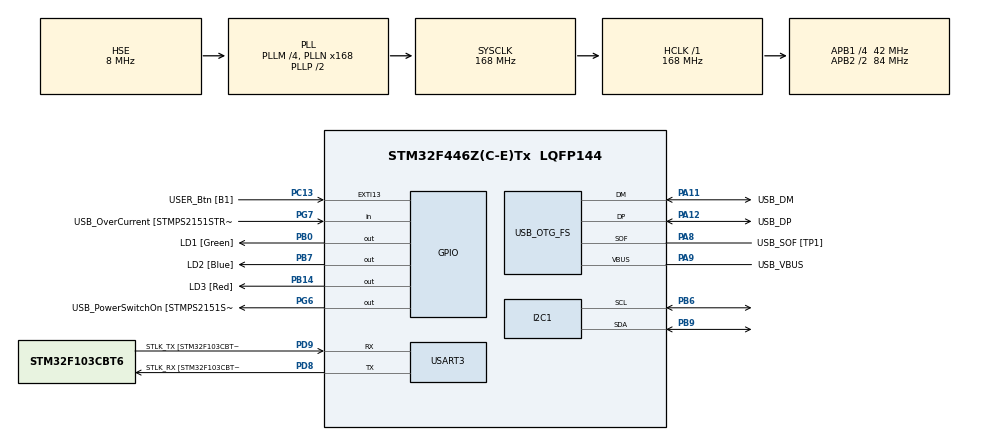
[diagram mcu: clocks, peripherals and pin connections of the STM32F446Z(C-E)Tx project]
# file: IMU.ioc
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Dma.I2C1_RX.0.Direction=DMA_PERIPH_TO_MEMORY
Dma.I2C1_RX.0.FIFOMode=DMA_FIFOMODE_DISABLE
Dma.I2C1_RX.0.Instance=DMA1_Stream0
Dma.I2C1_RX.0.MemDataAlignment=DMA_MDATAALIGN_BYTE
Dma.I2C1_RX.0.MemInc=DMA_MINC_ENABLE
Dma.I2C1_RX.0.Mode=DMA_CIRCULAR
Dma.I2C1_RX.0.PeriphDataAlignment=DMA_PDATAALIGN_BYTE
Dma.I2C1_RX.0.PeriphInc=DMA_PINC_DISABLE
Dma.I2C1_RX.0.Priority=DMA_PRIORITY_HIGH
Dma.Request0=I2C1_RX
Mcu.Family=STM32F4
Mcu.Name=STM32F446Z(C-E)Tx
Mcu.Package=LQFP144
NVIC.DMA1_Stream0_IRQn=true\:0\:0\:false\:false\:true\:false\:true\:true
NVIC.I2C1_ER_IRQn=true\:0\:0\:false\:false\:true\:true\:true\:true
NVIC.I2C1_EV_IRQn=true\:0\:0\:false\:false\:true\:true\:true\:true
NVIC.PriorityGroup=NVIC_PRIORITYGROUP_4
NVIC.TIM6_DAC_IRQn=true\:0\:0\:false\:false\:true\:true\:true\:true
PA10.GPIO_Label=USB_ID
PA10.Signal=USB_OTG_FS_ID
PA11.GPIO_Label=USB_DM
PA11.Mode=Device_Only
PA11.Signal=USB_OTG_FS_DM
PA12.GPIO_Label=USB_DP
PA12.Mode=Device_Only
PA12.Signal=USB_OTG_FS_DP
PA13.GPIO_Label=TMS
PA13.Mode=Serial_Wire
PA13.Signal=SYS_JTMS-SWDIO
PA14.GPIO_Label=TCK
PA14.Mode=Serial_Wire
PA14.Signal=SYS_JTCK-SWCLK
PA8.GPIO_Label=USB_SOF [TP1]
PA8.Mode=Activate_SOF_FS
PA8.Signal=USB_OTG_FS_SOF
PA9.GPIO_Label=USB_VBUS
PA9.Mode=Activate_VBUS
PA9.Signal=USB_OTG_FS_VBUS
PB0.GPIO_Label=LD1 [Green]
PB0.Signal=GPIO_Output
PB14.GPIO_Label=LD3 [Red]
PB14.Signal=GPIO_Output
PB6.Mode=I2C
PB6.Signal=I2C1_SCL
PB7.GPIO_Label=LD2 [Blue]
PB7.Signal=GPIO_Output
PB9.Mode=I2C
PB9.Signal=I2C1_SDA
PC13.GPIO_Label=USER_Btn [B1]
PC13.Signal=GPXTI13
PC14-OSC32_IN.Mode=LSE-External-Oscillator
PC14-OSC32_IN.Signal=RCC_OSC32_IN
PC15-OSC32_OUT.Mode=LSE-External-Oscillator
PC15-OSC32_OUT.Signal=RCC_OSC32_OUT
PD8.GPIO_Label=STLK_RX [STM32F103CBT6_PA3]
PD8.Mode=Asynchronous
PD8.Signal=USART3_TX
PD9.GPIO_Label=STLK_TX [STM32F103CBT6_PA2]
PD9.Mode=Asynchronous
PD9.Signal=USART3_RX
PG6.GPIO_Label=USB_PowerSwitchOn [STMPS2151STR_EN]
PG6.Signal=GPIO_Output
PG7.GPIO_Label=USB_OverCurrent [STMPS2151STR_FAULT]
PG7.Signal=GPIO_Input
PH0-OSC_IN.GPIO_Label=MCO [STM32F103CBT6_PA8]
PH0-OSC_IN.Mode=HSE-External-Clock-Source
PH0-OSC_IN.Signal=RCC_OSC_IN
PH1-OSC_OUT.Mode=HSE-External-Clock-Source
PH1-OSC_OUT.Signal=RCC_OSC_OUT
ProjectManager.HeapSize=0x200
ProjectManager.StackSize=0x400
ProjectManager.TargetToolchain=STM32CubeIDE
RCC.48MHZClocksFreq_Value=24000000
RCC.AHBFreq_Value=168000000
RCC.APB1CLKDivider=RCC_HCLK_DIV4
RCC.APB1Freq_Value=42000000
RCC.APB1TimFreq_Value=84000000
RCC.APB2CLKDivider=RCC_HCLK_DIV2
RCC.APB2Freq_Value=84000000
RCC.APB2TimFreq_Value=168000000
RCC.CortexFreq_Value=168000000
RCC.HCLKFreq_Value=168000000
RCC.HSE_VALUE=8000000
RCC.HSI_VALUE=16000000
RCC.PLLM=4
RCC.PLLMUL=RCC_PLL_MUL9
RCC.PLLN=168
RCC.PLLQ=7
RCC.PRESCALERUSB=RCC_USBCLKSOURCE_PLL_DIV1_5
RCC.SYSCLKFreq_VALUE=168000000
RCC.SYSCLKSource=RCC_SYSCLKSOURCE_PLLCLK
RCC.SYSCLKSourceVirtual=RCC_SYSCLKSOURCE_PLLCLK
RCC.USBFreq_Value=48000000
RCC.VCOOutputFreq_Value=336000000
TIM6.AutoReloadPreload=TIM_AUTORELOAD_PRELOAD_ENABLE
TIM6.Period=99
TIM6.Prescaler=8399
USART3.VirtualMode=VM_ASYNC
USB_OTG_FS.VirtualMode=Device_Only
VP_TIM6_VS_ClockSourceINT.Mode=Enable_Timer
board=NUCLEO-F446ZE

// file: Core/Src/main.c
/* USER CODE BEGIN Header */
/**
  ******************************************************************************
  * @file           : main.c
  * @brief          : Main program body
  ******************************************************************************
  * @attention
  *
  * Copyright (c) 2025 STMicroelectronics.
  * All rights reserved.
  *
  * This software is licensed under terms that can be found in the LICENSE file
  * in the root directory of this software component.
  * If no LICENSE file comes with this software, it is provided AS-IS.
  *
  ******************************************************************************
  */
/* USER CODE END Header */
#include "main.h"

/* USER CODE BEGIN Includes */
#include <stdio.h>
#include "mpu9250.h"
/* USER CODE END Includes */

I2C_HandleTypeDef hi2c1;
DMA_HandleTypeDef hdma_i2c1_rx;

TIM_HandleTypeDef htim6;

UART_HandleTypeDef huart3;

PCD_HandleTypeDef hpcd_USB_OTG_FS;

void SystemClock_Config(void);
static void MX_GPIO_Init(void);
static void MX_DMA_Init(void);
static void MX_USART3_UART_Init(void);
static void MX_USB_OTG_FS_PCD_Init(void);
static void MX_I2C1_Init(void);
static void MX_TIM6_Init(void);

int main(void)
{

  /* MCU Configuration--------------------------------------------------------*/

  /* Reset of all peripherals, Initializes the Flash interface and the Systick. */
  HAL_Init();

  /* Configure the system clock */
  SystemClock_Config();

  /* Initialize all configured peripherals */
  MX_GPIO_Init();
  MX_DMA_Init();
  MX_USART3_UART_Init();
  MX_USB_OTG_FS_PCD_Init();
  MX_I2C1_Init();
  MX_TIM6_Init();
  /* USER CODE BEGIN 2 */
  mpu9250_init();
  HAL_Delay(500);
  HAL_TIM_Base_Start_IT(&htim6);
  /* USER CODE END 2 */

  /* Infinite loop */
  while (1)
  {
      HAL_Delay(1000);

          // Accelerometer
          printf("Accel -> X: %.2f g, Y: %.2f g, Z: %.2f g\r\n", imu.ax, imu.ay, imu.az);
          // Gyroscope
          printf("Gyro  -> X: %.2f °/s, Y: %.2f °/s, Z: %.2f °/s\r\n", imu.gx, imu.gy, imu.gz);
          // Euler angles
          printf("Orientation -> Pitch: %.2f°, Roll: %.2f°\r\n", imu.pitch, imu.roll);
      }

  }

void SystemClock_Config(void)
{
  RCC_OscInitTypeDef RCC_OscInitStruct = {0};
  RCC_ClkInitTypeDef RCC_ClkInitStruct = {0};

  /** Configure the main internal regulator output voltage
  */
  __HAL_RCC_PWR_CLK_ENABLE();
  __HAL_PWR_VOLTAGESCALING_CONFIG(PWR_REGULATOR_VOLTAGE_SCALE1);

  /** Initializes the RCC Oscillators according to the specified parameters
  * in the RCC_OscInitTypeDef structure.
  */
  RCC_OscInitStruct.OscillatorType = RCC_OSCILLATORTYPE_HSE;
  RCC_OscInitStruct.HSEState = RCC_HSE_BYPASS;
  RCC_OscInitStruct.PLL.PLLState = RCC_PLL_ON;
  RCC_OscInitStruct.PLL.PLLSource = RCC_PLLSOURCE_HSE;
  RCC_OscInitStruct.PLL.PLLM = 4;
  RCC_OscInitStruct.PLL.PLLN = 168;
  RCC_OscInitStruct.PLL.PLLP = RCC_PLLP_DIV2;
  RCC_OscInitStruct.PLL.PLLQ = 7;
  RCC_OscInitStruct.PLL.PLLR = 2;
  if (HAL_RCC_OscConfig(&RCC_OscInitStruct) != HAL_OK)
  {
    Error_Handler();
  }

  /** Initializes the CPU, AHB and APB buses clocks
  */
  RCC_ClkInitStruct.ClockType = RCC_CLOCKTYPE_HCLK|RCC_CLOCKTYPE_SYSCLK
                              |RCC_CLOCKTYPE_PCLK1|RCC_CLOCKTYPE_PCLK2;
  RCC_ClkInitStruct.SYSCLKSource = RCC_SYSCLKSOURCE_PLLCLK;
  RCC_ClkInitStruct.AHBCLKDivider = RCC_SYSCLK_DIV1;
  RCC_ClkInitStruct.APB1CLKDivider = RCC_HCLK_DIV4;
  RCC_ClkInitStruct.APB2CLKDivider = RCC_HCLK_DIV2;

  if (HAL_RCC_ClockConfig(&RCC_ClkInitStruct, FLASH_LATENCY_5) != HAL_OK)
  {
    Error_Handler();
  }
}

static void MX_I2C1_Init(void)
{

  hi2c1.Instance = I2C1;
  hi2c1.Init.ClockSpeed = 100000;
  hi2c1.Init.DutyCycle = I2C_DUTYCYCLE_2;
  hi2c1.Init.OwnAddress1 = 0;
  hi2c1.Init.AddressingMode = I2C_ADDRESSINGMODE_7BIT;
  hi2c1.Init.DualAddressMode = I2C_DUALADDRESS_DISABLE;
  hi2c1.Init.OwnAddress2 = 0;
  hi2c1.Init.GeneralCallMode = I2C_GENERALCALL_DISABLE;
  hi2c1.Init.NoStretchMode = I2C_NOSTRETCH_DISABLE;
  if (HAL_I2C_Init(&hi2c1) != HAL_OK)
  {
    Error_Handler();
  }

}

static void MX_TIM6_Init(void)
{

  TIM_MasterConfigTypeDef sMasterConfig = {0};

  htim6.Instance = TIM6;
  htim6.Init.Prescaler = 8399;
  htim6.Init.CounterMode = TIM_COUNTERMODE_UP;
  htim6.Init.Period = 99;
  htim6.Init.AutoReloadPreload = TIM_AUTORELOAD_PRELOAD_ENABLE;
  if (HAL_TIM_Base_Init(&htim6) != HAL_OK)
  {
    Error_Handler();
  }
  sMasterConfig.MasterOutputTrigger = TIM_TRGO_RESET;
  sMasterConfig.MasterSlaveMode = TIM_MASTERSLAVEMODE_DISABLE;
  if (HAL_TIMEx_MasterConfigSynchronization(&htim6, &sMasterConfig) != HAL_OK)
  {
    Error_Handler();
  }

}

static void MX_USART3_UART_Init(void)
{

  huart3.Instance = USART3;
  huart3.Init.BaudRate = 115200;
  huart3.Init.WordLength = UART_WORDLENGTH_8B;
  huart3.Init.StopBits = UART_STOPBITS_1;
  huart3.Init.Parity = UART_PARITY_NONE;
  huart3.Init.Mode = UART_MODE_TX_RX;
  huart3.Init.HwFlowCtl = UART_HWCONTROL_NONE;
  huart3.Init.OverSampling = UART_OVERSAMPLING_16;
  if (HAL_UART_Init(&huart3) != HAL_OK)
  {
    Error_Handler();
  }

}

static void MX_USB_OTG_FS_PCD_Init(void)
{

  hpcd_USB_OTG_FS.Instance = USB_OTG_FS;
  hpcd_USB_OTG_FS.Init.dev_endpoints = 6;
  hpcd_USB_OTG_FS.Init.speed = PCD_SPEED_FULL;
  hpcd_USB_OTG_FS.Init.dma_enable = DISABLE;
  hpcd_USB_OTG_FS.Init.phy_itface = PCD_PHY_EMBEDDED;
  hpcd_USB_OTG_FS.Init.Sof_enable = ENABLE;
  hpcd_USB_OTG_FS.Init.low_power_enable = DISABLE;
  hpcd_USB_OTG_FS.Init.lpm_enable = DISABLE;
  hpcd_USB_OTG_FS.Init.vbus_sensing_enable = ENABLE;
  hpcd_USB_OTG_FS.Init.use_dedicated_ep1 = DISABLE;
  if (HAL_PCD_Init(&hpcd_USB_OTG_FS) != HAL_OK)
  {
    Error_Handler();
  }

}

static void MX_DMA_Init(void)
{

  /* DMA controller clock enable */
  __HAL_RCC_DMA1_CLK_ENABLE();

  /* DMA interrupt init */
  /* DMA1_Stream0_IRQn interrupt configuration */
  HAL_NVIC_SetPriority(DMA1_Stream0_IRQn, 0, 0);
  HAL_NVIC_EnableIRQ(DMA1_Stream0_IRQn);

}

static void MX_GPIO_Init(void)
{
  GPIO_InitTypeDef GPIO_InitStruct = {0};

  /* GPIO Ports Clock Enable */
  __HAL_RCC_GPIOC_CLK_ENABLE();
  __HAL_RCC_GPIOH_CLK_ENABLE();
  __HAL_RCC_GPIOB_CLK_ENABLE();
  __HAL_RCC_GPIOD_CLK_ENABLE();
  __HAL_RCC_GPIOG_CLK_ENABLE();
  __HAL_RCC_GPIOA_CLK_ENABLE();

  /*Configure GPIO pin Output Level */
  HAL_GPIO_WritePin(GPIOB, LD1_Pin|LD3_Pin|LD2_Pin, GPIO_PIN_RESET);

  /*Configure GPIO pin Output Level */
  HAL_GPIO_WritePin(USB_PowerSwitchOn_GPIO_Port, USB_PowerSwitchOn_Pin, GPIO_PIN_RESET);

  /*Configure GPIO pin : USER_Btn_Pin */
  GPIO_InitStruct.Pin = USER_Btn_Pin;
  GPIO_InitStruct.Mode = GPIO_MODE_IT_RISING;
  GPIO_InitStruct.Pull = GPIO_NOPULL;
  HAL_GPIO_Init(USER_Btn_GPIO_Port, &GPIO_InitStruct);

  /*Configure GPIO pins : LD1_Pin LD3_Pin LD2_Pin */
  GPIO_InitStruct.Pin = LD1_Pin|LD3_Pin|LD2_Pin;
  GPIO_InitStruct.Mode = GPIO_MODE_OUTPUT_PP;
  GPIO_InitStruct.Pull = GPIO_NOPULL;
  GPIO_InitStruct.Speed = GPIO_SPEED_FREQ_LOW;
  HAL_GPIO_Init(GPIOB, &GPIO_InitStruct);

  /*Configure GPIO pin : USB_PowerSwitchOn_Pin */
  GPIO_InitStruct.Pin = USB_PowerSwitchOn_Pin;
  GPIO_InitStruct.Mode = GPIO_MODE_OUTPUT_PP;
  GPIO_InitStruct.Pull = GPIO_NOPULL;
  GPIO_InitStruct.Speed = GPIO_SPEED_FREQ_LOW;
  HAL_GPIO_Init(USB_PowerSwitchOn_GPIO_Port, &GPIO_InitStruct);

  /*Configure GPIO pin : USB_OverCurrent_Pin */
  GPIO_InitStruct.Pin = USB_OverCurrent_Pin;
  GPIO_InitStruct.Mode = GPIO_MODE_INPUT;
  GPIO_InitStruct.Pull = GPIO_NOPULL;
  HAL_GPIO_Init(USB_OverCurrent_GPIO_Port, &GPIO_InitStruct);

}

/* USER CODE BEGIN 4 */
int __io_putchar(int ch)
{
    HAL_UART_Transmit(&huart3, (uint8_t *)&ch, 1, HAL_MAX_DELAY);
    return ch;
}

int _write(int file, char *ptr, int len)
{
    HAL_UART_Transmit(&huart3, (uint8_t *)ptr, len, HAL_MAX_DELAY);
    return len;
}
void HAL_TIM_PeriodElapsedCallback(TIM_HandleTypeDef *htim) {
    if(htim->Instance == TIM6) {
        HAL_I2C_Mem_Read(&hi2c1, MPU9250_ADDR, ACCEL_XOUT_H_REG, I2C_MEMADD_SIZE_8BIT, mpu_raw, 14, HAL_MAX_DELAY);
        mpu9250_parse_accel_gyro(mpu_raw);
        mpu9250_read_mag();
    }
}

/* USER CODE END 4 */

void Error_Handler(void)
{
  __disable_irq();
  while (1)
  {
  }
}
